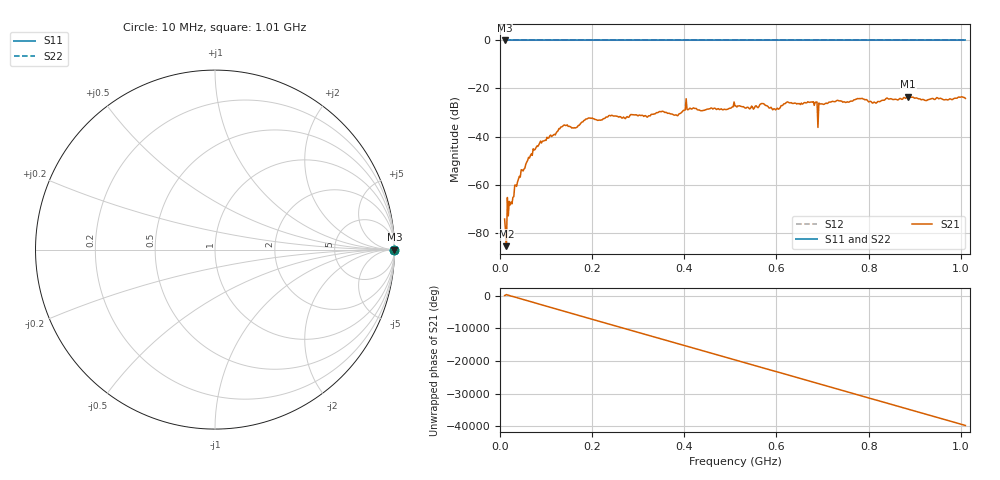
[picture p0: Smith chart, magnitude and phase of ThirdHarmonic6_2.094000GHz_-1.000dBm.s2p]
! 8/17/2025 1:03:45 AM
! C:\ANRITSUVNA\TEMP\TEMP.S2P
! CHANNEL.1
! TR.MEASUREMENT
! RAW.DATA
! RF.CORRECTION.OFF
! AVERAGING.OFF
! IF.BANDWIDTH: 5KHZ
! SWEEPTYPE:  FREQ.SWEEP(Linear)
! Reference Plane Port Info
! PORT:  PORT1  PORT2
! DISTANCE:  0  m  0  m
! TIME:  0  s  0  s
! PHASE.OFFSET:  0  deg.  0  deg.
! LOSS:  0  dB  0  dB
! REF.LOSS:  0  dB  0  dB
! REF.FREQ:  0  Hz  0  Hz
! Power Info
! POWER:  -20  dBm  -20  dBm
! EFF.POWER:  -20  dBm  -20  dBm
! SOURCE.ATTEN:  0  dB  0  dB
! TEST.ATTEN:  0  dB  0  dB
# GHZ S RI R 50.0
! FREQ.GHZ  S11RE  S11IM  S21RE  S21IM  S12RE  S12IM  S22RE  S22IM
!; PortSelection: Port_12
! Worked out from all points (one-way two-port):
!   501 points, 10 MHz to 1.01 GHz, reference 50 ohm
!   highest |S21| = -23.37 dB at 886 MHz (marker M1); lowest = -85.7 dB at 14 MHz (marker M2)
!   lowest |S11| = 0.0 dB at 10 MHz (marker M3)
!   |S11| at or under -10 dB: nowhere
!   |S22| runs from 0.0 to 0.0 dB; largest |S21 - S12| = 1.1
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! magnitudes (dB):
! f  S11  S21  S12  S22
! 10 MHz  0.0  -74.4  0.0  0.0
! 14 MHz  0.0  -85.7  0.0  0.0
! 20 MHz  0.0  -67.0  0.0  0.0
! 26 MHz  0.0  -68.0  0.0  0.0
! 36 MHz  0.0  -60.8  0.0  0.0
! 76 MHz  0.0  -45.4  0.0  0.0
! 136 MHz  0.0  -35.7  0.0  0.0
! 178 MHz  0.0  -34.0  0.0  0.0
! 344 MHz  0.0  -29.9  0.0  0.0
! 382 MHz  0.0  -31.0  0.0  0.0
! 408 MHz  0.0  -28.9  0.0  0.0
! 510 MHz  0.0  -27.3  0.0  0.0
! 570 MHz  0.0  -26.3  0.0  0.0
! 596 MHz  0.0  -28.5  0.0  0.0
! 624 MHz  0.0  -25.6  0.0  0.0
! 678 MHz  0.0  -25.6  0.0  0.0
! 694 MHz  0.0  -26.3  0.0  0.0
! 696 MHz  0.0  -26.4  0.0  0.0
! 734 MHz  0.0  -25.0  0.0  0.0
! 844 MHz  0.0  -24.4  0.0  0.0
! 886 MHz  0.0  -23.4  0.0  0.0
! 1.01 GHz  0.0  -24.1  0.0  0.0
